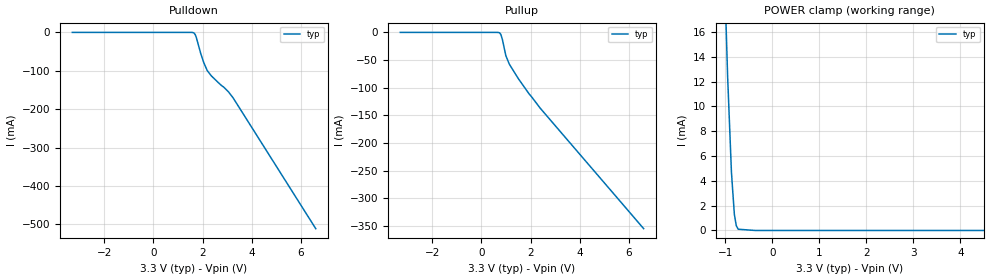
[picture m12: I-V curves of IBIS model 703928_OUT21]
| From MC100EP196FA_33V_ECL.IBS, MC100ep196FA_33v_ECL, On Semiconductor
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| (C) COPYRIGHT 1993-2001
| MENTOR GRAPHICS CORPORATION
| ICX STANDARD LIBRARY, ICX PROJECT MODELING,
| ICX CUSTOM MODELING, ICX VENDOR MODEL
| ALL RIGHTS RESERVED.
| THE FOLLOWING ARE TRADEMARKS OR SERVICE MARKS OF
| MENTOR GRAPHICS CORPORATION:ICX (R), ICX STANDARD
| LIBRARY(R), ICX PROJECT MODELING(R), ICX CUSTOM
| MODELING(R), qualityIBIS(TM), MODELVIEWER(TM),
| AND MODELEDITOR(TM)
| ALL COPIES OF SOFTWARE, INCLUDING BUT NOT LIMITED TO
| ANY MODIFICATIONS, ENHANCEMENTS OR DERIVATIVE WORKS,
| MUST CONTAIN ALL MENTOR GRAPHICS CORPORATION'S
| NOTICES AND LEGENDS, INCLUDING THOSE EMBEDDED IN
| SOFTWARE AND THOSE AFFIXED TO SOFTWARE MEDIUM
| AND CONTAINER, AS RECEIVED FROM MENTOR GRAPHICS
| CORPORATION.
| Model Application Version 1.89 2/18/99.
[Model] 703928_OUT21
Model_type Output_ECL
Vref=1.300V
Rref=50.00ohms
Cref=0.000F
Vmeas=1.955V
C_comp 8.000pF NA NA
| variable typ   min   max
[Voltage Range] 3.300V NA NA
[POWER Clamp Reference] 3.300V NA NA
[Pullup Reference] 3.300V NA NA
[Pulldown Reference] 3.300V NA NA
[GND Clamp Reference] 0.000V NA NA
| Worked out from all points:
|   POWER clamp passes 1 mA (typ) near -0.80 V on its own axis
[GND Clamp]
-3.3V     0A         NA         NA
6.6V      0A         NA         NA
[Pulldown]
-3.3V     0A         NA         NA
1.537V    0A         NA         NA
1.658V    -2.2mA     NA         NA
1.74V     -12.5mA    NA         NA
1.922V    -54.9mA    NA         NA
2.043V    -78.3mA    NA         NA
2.185V    -99.2mA    NA         NA
2.348V    -112.9mA   NA         NA
3.057V    -155.4mA   NA         NA
3.239V    -170.6mA   NA         NA
6.6V      -511.4mA   NA         NA
[Pullup]
-3.3V     0A         NA         NA
650mV     0A         NA         NA
751mV     -1.2mA     NA         NA
792mV     -3.8mA     NA         NA
853mV     -12.5mA    NA         NA
994mV     -41.9mA    NA         NA
1.136V    -57.3mA    NA         NA
1.501V    -83.4mA    NA         NA
1.947V    -111.5mA   NA         NA
2.393V    -136.9mA   NA         NA
6.6V      -354.5mA   NA         NA
[POWER Clamp]
-3.3V     460.8mA    NA         NA
-1.377V   79.8mA     NA         NA
-1.175V   44mA       NA         NA
-1.053V   25mA       NA         NA
-952mV    12.4mA     NA         NA
-871mV    4.7mA      NA         NA
-809mV    1.3mA      NA         NA
-769mV    400uA      NA         NA
-728mV    100uA      NA         NA
-364mV    0A         NA         NA
6.6V      0A         NA         NA
[Ramp]
| variable typ min max
dV/dt_r 336.8m/200.8p NA NA
dV/dt_f 336.8m/165.9p NA NA
R_load = 50.00Ohms
